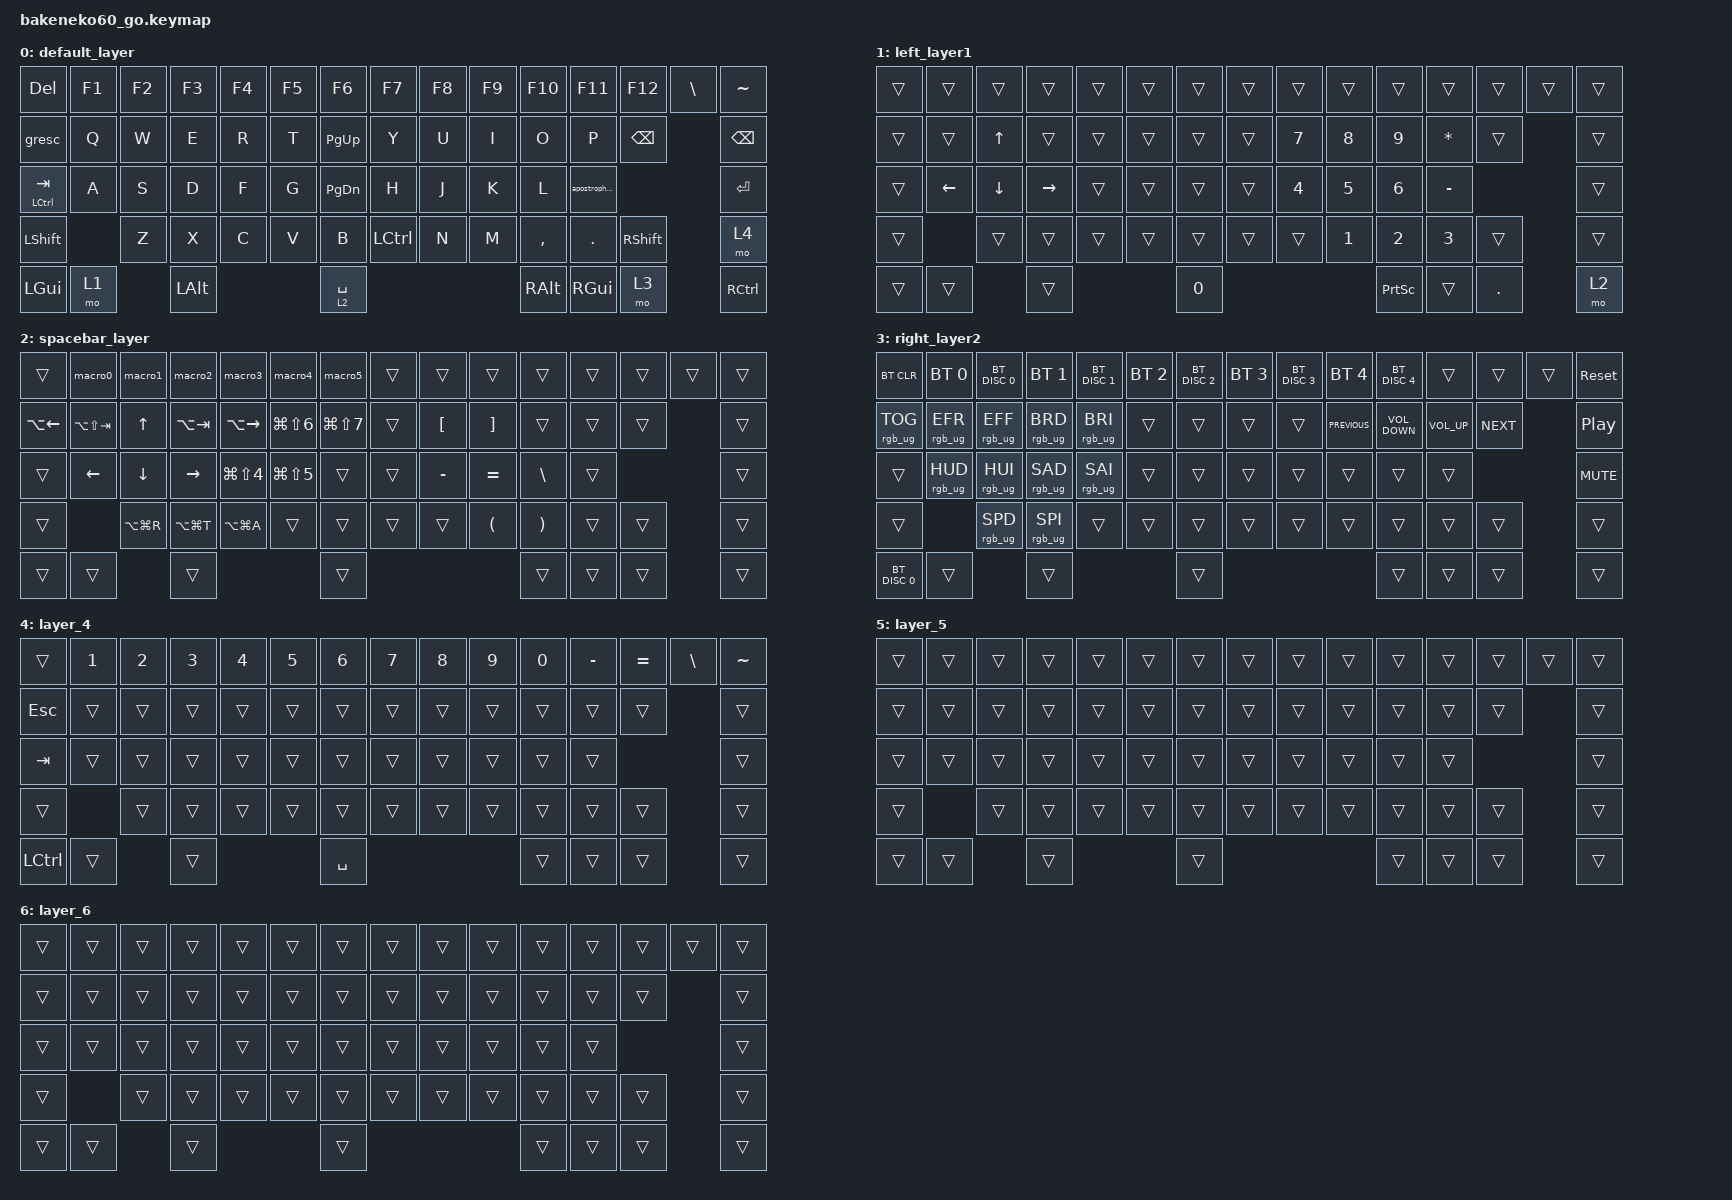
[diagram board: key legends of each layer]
/*
 * Copyright (c) 2023 Andrew Kannan
 *
 * SPDX-License-Identifier: MIT
 */

#include <behaviors.dtsi>
#include <dt-bindings/zmk/bt.h>
#include <dt-bindings/zmk/keys.h>
#include <dt-bindings/zmk/rgb.h>

&mt {
};

/ {
    behaviors {
        apostropheandcolon: apostropheandcolon {
            compatible = "zmk,behavior-tap-dance";
            label = "APOSTROPHEANDCOLON";
            #binding-cells = <0>;
            bindings = <&kp SQT>, <&kp SEMI>;
        };

        slashandquestion: slashandquestion {
            compatible = "zmk,behavior-hold-tap";
            label = "SLASHANDQUESTION";
            bindings = <&kp>, <&kp>;

            #binding-cells = <2>;
            tapping-term-ms = <200>;
            hold-trigger-key-positions = <52 51>;
        };
    };

    macros {
        macro0: new_macro {
            compatible = "zmk,behavior-macro";
            #binding-cells = <0>;
            bindings = <&none &kp C &kp V &kp UNDER &kp LS(Z) &kp N9 &kp N9 &kp LS(W) &kp B &kp STAR &kp LS(H) &kp UNDER &kp W &kp N3 &kp LS(F) &kp X &kp EXCL &kp AT &kp LS(Q) &kp DOT &kp LS(M)>;
            label = "NEW_MACRO";
        };

        macro1: macro1 {
            compatible = "zmk,behavior-macro";
            #binding-cells = <0>;
            bindings = <&none &kp M &kp N1 &kp S &kp S &kp LS(L) &kp N3 &kp M &kp N0 &kp LS(N) &kp S &kp EXCL &kp MINUS &kp LS(H) &kp LS(O) &kp LS(M) &kp LS(E) &kp MINUS &kp LS(S) &kp LS(T) &kp LS(A) &kp LS(R)>;
            label = "MACRO1";
        };

        macro2: macro2 {
            compatible = "zmk,behavior-macro";
            #binding-cells = <0>;
            bindings = <&none &kp J &kp I &kp LS(F) &kp N &kp O &kp V &kp W &kp Y &kp V &kp Z &kp O &kp N0 &kp F &kp O &kp V &kp V &kp E &kp F>;
            label = "MACRO2";
        };

        macro3: macro3 {
            compatible = "zmk,behavior-macro";
            #binding-cells = <0>;
            bindings = <&none &kp M &kp A &kp X &kp K &kp A &kp R &kp W &kp I &kp P &kp Q &kp A &kp P &kp N0 &kp G &kp Y &kp LS(G) &kp X &kp I>;
            label = "MACRO3";
        };

        macro4: macro4 {
            compatible = "zmk,behavior-macro";
            #binding-cells = <0>;
            bindings = <&none &kp F &kp U &kp LS(D) &kp N &kp LS(E) &kp Z &kp T &kp A &kp N2 &kp LS(D) &kp LS(U) &kp D &kp P &kp LS(C) &kp LS(V) &kp T &kp DOT &kp N6 &kp LS(V) &kp H>;
            label = "MACRO4";
        };

        macro5: macro5 {
            compatible = "zmk,behavior-macro";
            #binding-cells = <0>;
            bindings = <&none &kp LS(T) &kp U &kp Q &kp R &kp A &kp N9 &kp MINUS &kp J &kp Y &kp N &kp N &kp U &kp H &kp MINUS &kp N &kp O &kp N &kp Q &kp O &kp H>;
            label = "MACRO5";
        };
    };

    keymap {
        compatible = "zmk,keymap";

        default_layer {
            // ------------------------------------------------------------------------------------------
            // | ESC |  1  |  2  |  3  |  4  |  5  |  6  |  7  |  8  |  9  |  0  |  -  |  =  | BKSP|BKSP|
            // | TAB  |  Q  |  W  |  E  |  R  |  T  |  Y  |  U  |  I  |  O  |  P  |  [  |  ]  |   "|"   |
            // | CAPS  |  A  |  S  |  D  |  F  |  G  |  H  |  J  |  K  |  L  |  ;  |  '  |     ENTER    |
            // |  SHIFT  |  Z  |  X  |  C  |  V  |  B  |  N  |  M  |  ,  |  .  |  /  |  SHIFT  | MO(1)  |
            // |  CTL  |  WIN  |  ALT  |            SPACE              |  ALT  |  WIN  |  MO(1) |  CTL  |
            // ------------------------------------------------------------------------------------------

            bindings = <
&kp DELETE            &kp F1  &kp F2  &kp F3    &kp F4  &kp F5  &kp F6         &kp F7            &kp F8  &kp F9  &kp F10    &kp F11              &kp F12        &kp BACKSLASH  &kp TILDE
&gresc                &kp Q   &kp W   &kp E     &kp R   &kp T   &kp PAGE_UP    &kp Y             &kp U   &kp I   &kp O      &kp P                &kp BACKSPACE                 &kp BACKSPACE
&mt LEFT_CONTROL TAB  &kp A   &kp S   &kp D     &kp F   &kp G   &kp PAGE_DOWN  &kp H             &kp J   &kp K   &kp L      &apostropheandcolon                                &kp RET
&kp LSHFT                     &kp Z   &kp X     &kp C   &kp V   &kp B          &kp LEFT_CONTROL  &kp N   &kp M   &kp COMMA  &kp PERIOD           &kp RSHFT                     &mo 4
&kp LGUI              &mo 1           &kp LALT                  &lt 2 SPACE                                      &kp RALT   &kp RGUI             &mo 3                         &kp RCTRL
            >;
        };

        left_layer1 {
            // ------------------------------------------------------------------------------------------------
            // |    `   | F1  | F2  | F3  | F4  | F5  | F6  | F7  | F8  | F9  | F10  | F11 | F12 |     | DEL  |
            // | EFCT REV|   |  UP |   | HUEUP | SATUP | BRIUP | SPDUP |      |  PGUP |    |     |    |       |
            // | EFCT FWD | LT |  DN  | RT | HUEDN | SATDN | BRIDN | SPDDN | HOME | PGDN | END  |  | BOOTLDR  |
            // |             |     |      |      |     |     |     |     |     |     |     |         |        |
            // |         |      |      |             TOG RGB                | PRT SCR |       |       |  MO(2)|
            // ------------------------------------------------------------------------------------------------

            bindings = <
&trans  &trans    &trans    &trans     &trans  &trans  &trans  &trans  &trans        &trans        &trans        &trans        &trans      &trans  &trans
&trans  &trans    &kp UP    &trans     &trans  &trans  &trans  &trans  &kp NUMBER_7  &kp N8        &kp N9        &kp ASTERISK  &trans              &trans
&trans  &kp LEFT  &kp DOWN  &kp RIGHT  &trans  &trans  &trans  &trans  &kp NUMBER_4  &kp NUMBER_5  &kp NUMBER_6  &kp MINUS                         &trans
&trans            &trans    &trans     &trans  &trans  &trans  &trans  &trans        &kp NUMBER_1  &kp NUMBER_2  &kp NUMBER_3  &trans              &trans
&trans  &trans              &trans                     &kp N0                                      &kp PSCRN     &trans        &kp PERIOD          &mo 2
            >;
        };

        spacebar_layer {
            // ------------------------------------------------------------------------------------------------
            // | BT CLR |     |     |     |     |     |     |     |     |     |     |    |    |       |       |
            // |  BT 1   |   |     |   |       |       |       |       |   |     |    |     |     |           |
            // |   BT 2   |    |      |    |       |       |       |       |      |      |      |  |   Reset  |
            // |    BT 3     |     |      |      |     |     |     |     |     |     |     |         |        |
            // |   BT 4  |      |      |                                    |         |       |       |       |
            // ------------------------------------------------------------------------------------------------

            bindings = <
&trans              &macro0          &macro1        &macro2        &macro3               &macro4               &macro5         &trans  &trans            &trans                &trans                 &trans  &trans  &trans  &trans
&kp LA(LEFT_ARROW)  &kp LA(LS(TAB))  &kp UP_ARROW   &kp LA(TAB)    &kp LA(RIGHT)         &kp LG(LS(NUMBER_6))  &kp LG(LS(N7))  &trans  &kp LEFT_BRACKET  &kp RIGHT_BRACKET     &trans                 &trans  &trans          &trans
&trans              &kp LEFT_ARROW   &kp DOWN       &kp RIGHT      &kp LG(LS(NUMBER_4))  &kp LG(LS(N5))        &trans          &trans  &kp MINUS         &kp EQUAL             &kp BACKSLASH          &trans                  &trans
&trans                               &kp LA(LG(R))  &kp LA(LG(T))  &kp LA(LG(A))         &trans                &trans          &trans  &trans            &kp LEFT_PARENTHESIS  &kp RIGHT_PARENTHESIS  &trans  &trans          &trans
&trans              &trans                          &trans                                                     &trans                                                          &trans                 &trans  &trans          &trans
            >;
        };

        right_layer2 {
            bindings = <
&bt BT_CLR       &bt BT_SEL 0     &bt BT_DISC 0    &bt BT_SEL 1     &bt BT_DISC 1    &bt BT_SEL 2  &bt BT_DISC 2  &bt BT_SEL 3  &bt BT_DISC 3  &bt BT_SEL 4    &bt BT_DISC 4      &trans           &trans      &trans  &sys_reset
&rgb_ug RGB_TOG  &rgb_ug RGB_EFR  &rgb_ug RGB_EFF  &rgb_ug RGB_BRD  &rgb_ug RGB_BRI  &trans        &trans         &trans        &trans         &kp C_PREVIOUS  &kp C_VOLUME_DOWN  &kp C_VOLUME_UP  &kp C_NEXT          &kp C_PLAY_PAUSE
&trans           &rgb_ug RGB_HUD  &rgb_ug RGB_HUI  &rgb_ug RGB_SAD  &rgb_ug RGB_SAI  &trans        &trans         &trans        &trans         &trans          &trans             &trans                               &kp C_MUTE
&trans                            &rgb_ug RGB_SPD  &rgb_ug RGB_SPI  &trans           &trans        &trans         &trans        &trans         &trans          &trans             &trans           &trans              &trans
&bt BT_DISC 0    &trans                            &trans                                          &trans                                                      &trans             &trans           &trans              &trans
            >;
        };

        layer_4 {
            bindings = <
&trans            &kp NUMBER_1  &kp NUMBER_2  &kp NUMBER_3  &kp NUMBER_4  &kp N5  &kp NUMBER_6  &kp N7  &kp N8  &kp N9  &kp N0  &kp MINUS  &kp EQUAL  &kp BACKSLASH  &kp TILDE
&kp ESCAPE        &trans        &trans        &trans        &trans        &trans  &trans        &trans  &trans  &trans  &trans  &trans     &trans                    &trans
&kp TAB           &trans        &trans        &trans        &trans        &trans  &trans        &trans  &trans  &trans  &trans  &trans                               &trans
&trans                          &trans        &trans        &trans        &trans  &trans        &trans  &trans  &trans  &trans  &trans     &trans                    &trans
&kp LEFT_CONTROL  &trans                      &trans                              &kp SPACE                             &trans  &trans     &trans                    &trans
            >;
        };

        layer_5 {
            bindings = <
&trans  &trans  &trans  &trans  &trans  &trans  &trans  &trans  &trans  &trans  &trans  &trans  &trans  &trans  &trans
&trans  &trans  &trans  &trans  &trans  &trans  &trans  &trans  &trans  &trans  &trans  &trans  &trans          &trans
&trans  &trans  &trans  &trans  &trans  &trans  &trans  &trans  &trans  &trans  &trans  &trans                  &trans
&trans          &trans  &trans  &trans  &trans  &trans  &trans  &trans  &trans  &trans  &trans  &trans          &trans
&trans  &trans          &trans                  &trans                          &trans  &trans  &trans          &trans
            >;
        };

        layer_6 {
            bindings = <
&trans  &trans  &trans  &trans  &trans  &trans  &trans  &trans  &trans  &trans  &trans  &trans  &trans  &trans  &trans
&trans  &trans  &trans  &trans  &trans  &trans  &trans  &trans  &trans  &trans  &trans  &trans  &trans          &trans
&trans  &trans  &trans  &trans  &trans  &trans  &trans  &trans  &trans  &trans  &trans  &trans                  &trans
&trans          &trans  &trans  &trans  &trans  &trans  &trans  &trans  &trans  &trans  &trans  &trans          &trans
&trans  &trans          &trans                  &trans                          &trans  &trans  &trans          &trans
            >;
        };
    };

    combos {
        compatible = "zmk,combos";

        combo_bt {
            timeout-ms = <50>;
            key-positions = <61 62>;
            bindings = <&mo 2>;
        };

        gaminglayer {
            bindings = <&tog 4>;
            key-positions = <15 28>;
        };

        slash-and-questionmark {
            bindings = <&slashandquestion SLASH QUESTION>;
            key-positions = <52 51>;
        };

        caps-lock-combo {
            bindings = <&kp CAPSLOCK>;
            key-positions = <33 37>;
        };

        copy {
            bindings = <&kp LG(C)>;
            key-positions = <43 44>;
        };

        paste {
            bindings = <&kp LG(V)>;
            key-positions = <44 45>;
        };

        newpage {
            bindings = <&kp LG(T)>;
            key-positions = <43 46>;
        };

        closepage {
            bindings = <&kp LG(W)>;
            key-positions = <43 47>;
        };

        refresh {
            bindings = <&kp LG(R)>;
            key-positions = <43 45 47>;
        };

        alt-enter {
            bindings = <&kp ENTER>;
            key-positions = <45 46>;
        };
    };
};
